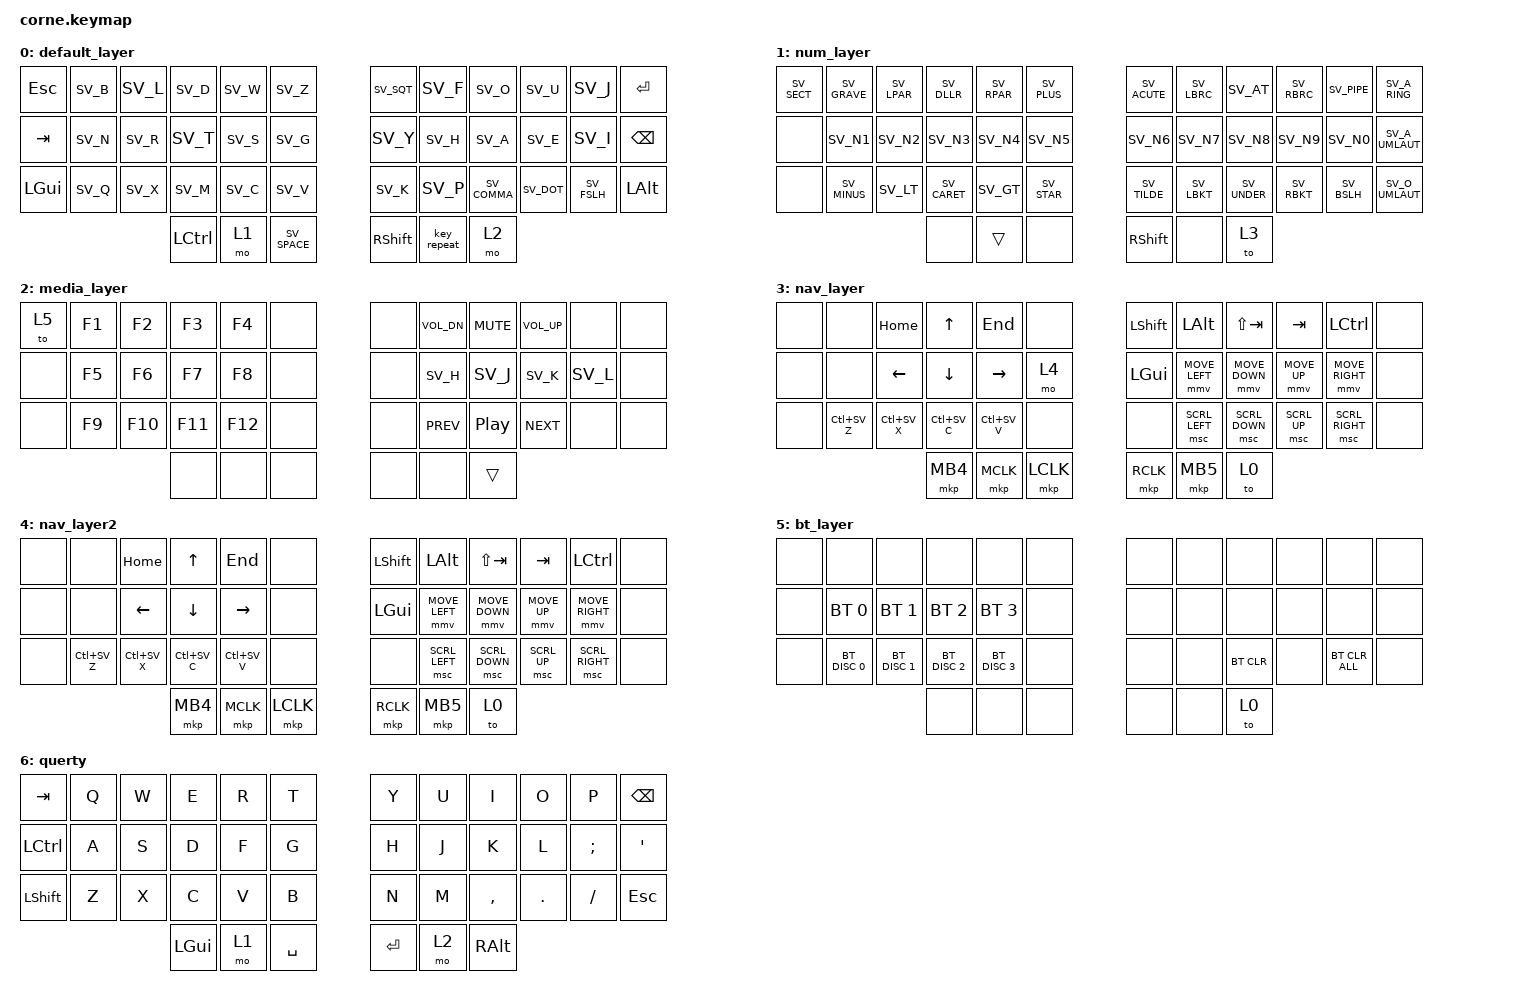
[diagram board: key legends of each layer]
/*
 * Copyright (c) 2020 The ZMK Contributors
 *
 * SPDX-License-Identifier: MIT
 */

#include <behaviors.dtsi>
#include <dt-bindings/zmk/keys.h>
#include <dt-bindings/zmk/bt.h>
#include <dt-bindings/zmk/pointing.h>
#include <input/processors.dtsi>
#include "keys_sv.h"

&mmv_input_listener {
        warp {
                layers = <4>; 
                input-processors = <&zip_xy_scaler 3 1>;
        };
};

/ {
        keymap {
                compatible = "zmk,keymap";

                default_layer {
// -----------------------------------------------------------------------------------------
// | ESC |  B  |  L  |  D  |  W  |  Z  |   |  '  |  F  |  O  |  U  |  J  |  ENT |
// | TAB |  N  |  R  |  T  |  S  |  G  |   |  Y  |  H  |  A  |  E  |  I  | BSPC |
// | WIN |  Q  |  X  |  M  |  C  |  V  |   |  K  |  P  |  ,  |  .  |  /  | ALT  |
//                  | CTRL | num | SPC |   | SHIFT | REP | MED |
                        bindings = <
   &kp ESC  &kp SV_B &kp SV_L &kp SV_D &kp SV_W &kp SV_Z   &kp SV_SQT  &kp SV_F  &kp SV_O     &kp SV_U   &kp SV_J    &kp RET
   &kp TAB  &kp SV_N &kp SV_R &kp SV_T &kp SV_S &kp SV_G   &kp SV_Y    &kp SV_H  &kp SV_A     &kp SV_E   &kp SV_I    &kp BSPC
   &kp LGUI &kp SV_Q &kp SV_X &kp SV_M &kp SV_C &kp SV_V   &kp SV_K    &kp SV_P  &kp SV_COMMA &kp SV_DOT &kp SV_FSLH &kp LALT
                &kp LCTRL &mo 1 &kp SV_SPACE   &kp RSHIFT &key_repeat &mo 2
                        >;
                };

                num_layer {
// -----------------------------------------------------------------------------------------
// |  §  |  `  |  (  |  $  |  )  |  +  |   |  ´  |  {  |  @  |  }  |  |  |  Å  |
// |     | 1/! | 2/" | 3/# |  4  | 5/% |   | 6/& |  7  |  8  |  9  | 0/= |  Ä  |
// |     |  -  |  <  |  ^  |  >  |  *  |   |  ~  |  [  |  _  |  ]  |  \  |  Ö  |
//                   |     | XXX |     |   | SHIFT |     | nav |
                        bindings = <
   &kp SV_SECT  &kp SV_GRAVE  &kp SV_LPAR  &kp SV_DLLR   &kp SV_RPAR  &kp SV_PLUS     &kp SV_ACUTE  &kp SV_LBRC   &kp SV_AT     &kp SV_RBRC   &kp SV_PIPE  &kp SV_A_RING
   &none        &kp SV_N1     &kp SV_N2    &kp SV_N3     &kp SV_N4    &kp SV_N5       &kp SV_N6     &kp SV_N7     &kp SV_N8     &kp SV_N9     &kp SV_N0    &kp SV_A_UMLAUT
   &none        &kp SV_MINUS  &kp SV_LT    &kp SV_CARET  &kp SV_GT    &kp SV_STAR     &kp SV_TILDE  &kp SV_LBKT   &kp SV_UNDER  &kp SV_RBKT   &kp SV_BSLH  &kp SV_O_UMLAUT
                                           &none         &trans       &none           &kp RSHIFT    &none         &to 3
                        >;
                };

                media_layer {
// -----------------------------------------------------------------------------------------
// |  bt  |  F1 |  F2 |  F3 |  F4 |     |   |     |  V- | Mut |  V+ |     |      |
// |      |  F5 |  F6 |  F7 |  F8 |     |   |     |  h  |  j  |  k  |  l  |      |
// |      |  F9 | F10 | F11 | F12 |     |   |     | Pre | PP  | Nex |     |      |
//                    |     |     |     |   |     |     | XXX |
                        bindings = <
   &to 5 &kp F1  &kp F2  &kp F3  &kp F4  &none    &none  &kp C_VOL_DN  &kp C_MUTE  &kp C_VOL_UP  &none     &none
   &none &kp F5  &kp F6  &kp F7  &kp F8  &none    &none  &kp SV_H      &kp SV_J    &kp SV_K      &kp SV_L  &none
   &none &kp F9  &kp F10 &kp F11 &kp F12 &none    &none  &kp C_PREV    &kp C_PP    &kp C_NEXT    &none     &none
                         &none   &none   &none    &none  &none         &trans
                        >;
                };

                nav_layer {
// -----------------------------------------------------------------------------------------
// |      |     | Home | A^  | End |     |   | SHFT | ALT | STAB | TAB | CTRL |      |
// |      |     |  <A  | Av  | A>  | x3  |   | WIN  | <M  |  Mv  |  M^ |  M>  |      |
// |      | CZ  |  CX  | CC  | CV  |     |   |      | <S  |  Sv  |  S^ |  S>  |      |
//                    | MB4 | WIN | LCLK |   | RCLK | MB5 | L0 |
                        bindings = <
   &none  &none         &kp HOME       &kp UP         &kp END        &none        &kp LSHFT   &kp LALT        &kp LS(TAB)     &kp TAB        &kp LCTRL        &none
   &none  &none         &kp LEFT       &kp DOWN       &kp RIGHT      &mo 4        &kp LGUI    &mmv MOVE_LEFT  &mmv MOVE_DOWN  &mmv MOVE_UP   &mmv MOVE_RIGHT  &none
   &none  &kp LC(SV_Z)  &kp LC(SV_X)   &kp LC(SV_C)   &kp LC(SV_V)   &none        &none       &msc SCRL_LEFT  &msc SCRL_DOWN  &msc SCRL_UP   &msc SCRL_RIGHT  &none
                                       &mkp MB4       &mkp MCLK      &mkp LCLK    &mkp RCLK   &mkp MB5        &to 0
                        >;
                };

                nav_layer2 {
// -----------------------------------------------------------------------------------------
// |      |     | Home | A^  | End |     |   | SHFT | ALT | STAB | TAB | CTRL |      |
// |      |     |  <A  | Av  | A>  | XXX |   | WIN  | <M  |  Mv  |  M^ |  M>  |      |
// |      | CZ  |  CX  | CC  | CV  |     |   |      | <S  |  Sv  |  S^ |  S>  |      |
//                    | MB4 | WIN | LCLK |   | RCLK | MB5 | L0 |
                        bindings = <
   &none  &none         &kp HOME       &kp UP         &kp END        &none        &kp LSHFT   &kp LALT        &kp LS(TAB)     &kp TAB        &kp LCTRL        &none
   &none  &none         &kp LEFT       &kp DOWN       &kp RIGHT      &none        &kp LGUI    &mmv MOVE_LEFT  &mmv MOVE_DOWN  &mmv MOVE_UP   &mmv MOVE_RIGHT  &none
   &none  &kp LC(SV_Z)  &kp LC(SV_X)   &kp LC(SV_C)   &kp LC(SV_V)   &none        &none       &msc SCRL_LEFT  &msc SCRL_DOWN  &msc SCRL_UP   &msc SCRL_RIGHT  &none
                                       &mkp MB4       &mkp MCLK      &mkp LCLK    &mkp RCLK   &mkp MB5        &to 0
                        >;
                };

                bt_layer {
// -----------------------------------------------------------------------------------------
// |      |     |     |     |     |     |   |     |     |     |     |      |      |
// |      | BT1 | BT2 | BT3 | BT4 |     |   |     |     |     |     |      |      |
// |      | DC1 | DC2 | DC3 | DC4 |     |   |     |     | CLR |     | CLRA |      |
//                    |     |     |     |   |     |     | L0  |
                        bindings = <
   &none &none           &none          &none          &none            &none     &none  &none  &none        &none   &none            &none
   &none &bt BT_SEL 0    &bt BT_SEL 1   &bt BT_SEL 2   &bt BT_SEL 3     &none     &none  &none  &none        &none   &none            &none
   &none &bt BT_DISC 0   &bt BT_DISC 1  &bt BT_DISC 2  &bt BT_DISC 3    &none     &none  &none  &bt BT_CLR   &none   &bt BT_CLR_ALL   &none
                                        &none          &none            &none     &none  &none  &to 0
                        >;
                };

                querty {
// -----------------------------------------------------------------------------------------
// |  TAB |  Q  |  W  |  E  |  R  |  T  |   |  Y  |  U   |  I  |  O  |  P  | BSPC |
// | CTRL |  A  |  S  |  D  |  F  |  G  |   |  H  |  J   |  K  |  L  |  ;  |  '   |
// | SHFT |  Z  |  X  |  C  |  V  |  B  |   |  N  |  M   |  ,  |  .  |  /  | ESC  |
//                    | GUI | LWR | SPC |   | ENT | RSE  | ALT |
                        bindings = <
   &kp TAB   &kp Q &kp W &kp E &kp R &kp T   &kp Y &kp U  &kp I     &kp O   &kp P    &kp BSPC
   &kp LCTRL &kp A &kp S &kp D &kp F &kp G   &kp H &kp J  &kp K     &kp L   &kp SEMI &kp SQT
   &kp LSHFT &kp Z &kp X &kp C &kp V &kp B   &kp N &kp M  &kp COMMA &kp DOT &kp FSLH &kp ESC
                  &kp LGUI &mo 1 &kp SPACE   &kp RET &mo 2 &kp RALT
                        >;
                };
        };
};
